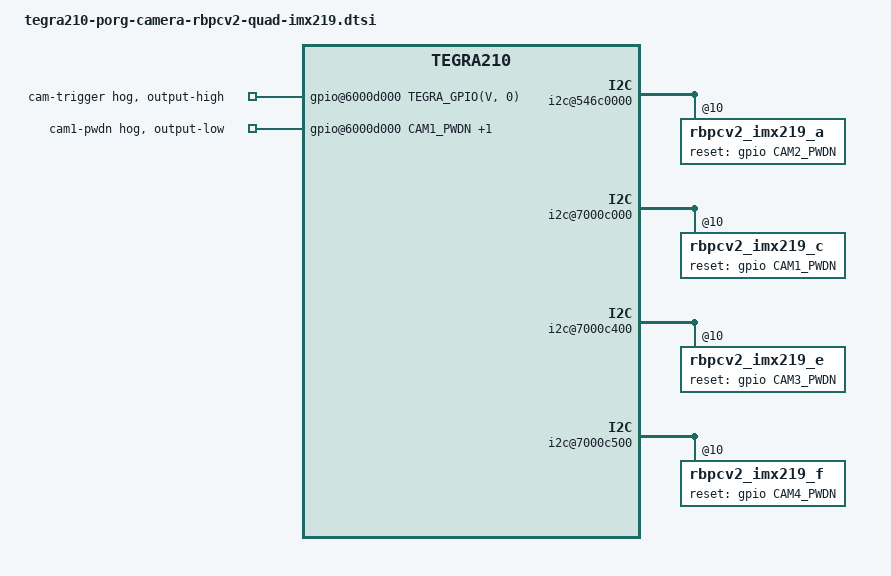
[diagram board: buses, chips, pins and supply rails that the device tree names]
/*
 * Copyright (c) 2018-2019, NVIDIA CORPORATION.  All rights reserved.
 *
 * This program is free software; you can redistribute it and/or modify
 * it under the terms of the GNU General Public License as published by
 * the Free Software Foundation; either version 2 of the License, or
 * (at your option) any later version.
 *
 * This program is distributed in the hope that it will be useful, but WITHOUT
 * ANY WARRANTY; without even the implied warranty of MERCHANTABILITY or
 * FITNESS FOR A PARTICULAR PURPOSE.  See the GNU General Public License for
 * more details.
 *
 * You should have received a copy of the GNU General Public License
 * along with this program.  If not, see <http://www.gnu.org/licenses/>.
 */

#include "tegra210-camera-rbpcv2-quad-imx219.dtsi"

#define CAM1_PWDN		TEGRA_GPIO(S, 7)
#define CAM2_PWDN		TEGRA_GPIO(T, 0)
#define CAM3_PWDN		TEGRA_GPIO(S, 5)
#define CAM4_PWDN		TEGRA_GPIO(T, 1)

/ {
	host1x {
		i2c@546c0000 {
			status = "okay";
			rbpcv2_imx219_a@10 {
				status = "okay";
				reset-gpios = <&gpio CAM2_PWDN GPIO_ACTIVE_HIGH>;
			};
		};
		i2c@7000c000 {					//new(fd)
			status = "okay";
			rbpcv2_imx219_c@10 {
				status = "okay";
				reset-gpios = <&gpio CAM1_PWDN GPIO_ACTIVE_HIGH>;
			};
		};
	};

	i2c@7000c400 {						//new(fd)
		status = "okay";
		rbpcv2_imx219_e@10 {
			status = "okay";
			reset-gpios = <&gpio CAM3_PWDN GPIO_ACTIVE_HIGH>;
		};
	};

	i2c@7000c500 {						//new(fd)
		status = "okay";
		rbpcv2_imx219_f@10 {
			status = "okay";
			reset-gpios = <&gpio CAM4_PWDN GPIO_ACTIVE_HIGH>;
		};
	};


	gpio@6000d000 {
		camera-trigger-high {
			status = "okay";
			gpio-hog;
			output-high;
			gpios = <TEGRA_GPIO(V, 0) 0>;
			label = "cam-trigger";
		};
		camera-control-output-low {
			status = "okay";
			gpio-hog;
			output-low;
			gpios = < CAM1_PWDN 0  CAM2_PWDN 0>;
			label = "cam1-pwdn", "cam2-pwdn";
		};
	};
};
